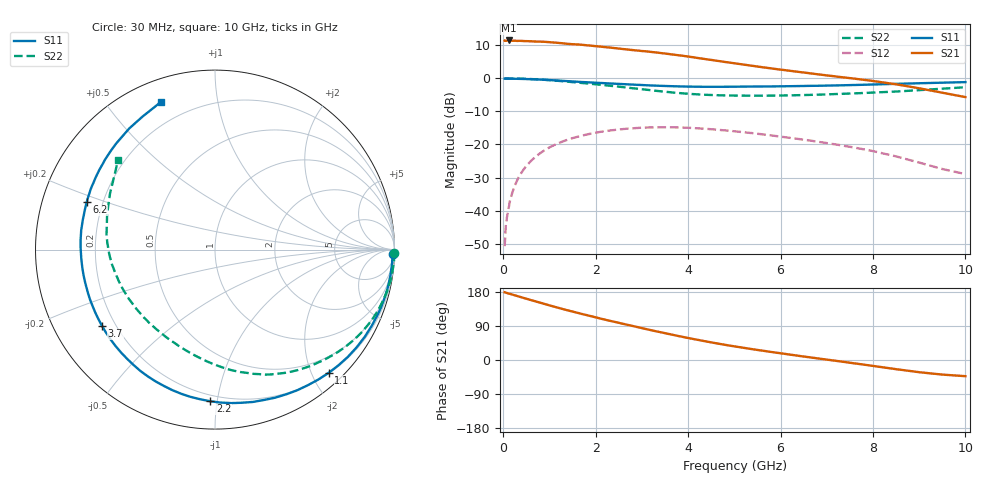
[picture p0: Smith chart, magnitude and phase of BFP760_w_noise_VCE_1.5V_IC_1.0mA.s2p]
! Infineon Technologies  Discrete & RF Semiconductors
! BFP760
! VCE =  1.5 V,  IC =  1.0 mA
! Common Emitter S-Parameters:  Nov 2012
# GHz  S  MA  R  50
!  f  S11  S21  S12  S22
! GHz  MAG  ANG  MAG  ANG  MAG  ANG  MAG  ANG
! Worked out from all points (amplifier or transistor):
!   99 points, 30 MHz to 10 GHz, reference 50 ohm
!   highest |S21| = 11.5 dB at 120 MHz (marker M1)
!   |S21| within 3 dB of that: start of sweep to 2.868 GHz
!   unconditionally stable (mu >= 1): 7.642 GHz to end of sweep
!   at 350 MHz: K = 0.04, MSG = 20.4 dB, |S12| = -29.5 dB
!   at 3.5 GHz: K = 0.28, MSG = 11.2 dB, |S12| = -14.8 dB
!   at 10 GHz: K = 2.23, MAG = 5.4 dB, |S12| = -28.9 dB
!   lowest NFmin = 0.56 dB at 900 MHz
!   S11 on the Smith chart (normalised r, x): 30 MHz: 28, -71; 1.1 GHz: 0.21, -2.27; 2.2 GHz: 0.16, -0.96; 3.7 GHz: 0.15, -0.30; 6.2 GHz: 0.14, +0.17; 10 GHz: 0.10, +0.70
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0.03  0.9904 -1.4  3.71 178.9  0.0029 83.7  1 -1.0
0.06  0.9896 -2.7  3.707 177.5  0.0065 84.7  0.9996 -1.8
0.12  0.989 -5.3  3.745 175.4  0.0112 86.9  0.9994 -3.5
0.14  0.9885 -6.1  3.729 174.7  0.0136 85.7  0.9985 -4.1
0.25  0.9862 -10.8  3.715 170.7  0.0238 82.2  0.9954 -7.3
0.45  0.9795 -19.4  3.663 163.4  0.0427 76.0  0.9874 -13.1
0.8  0.9588 -34.6  3.596 151.2  0.074 64.7  0.9607 -23.2
1.1  0.9341 -47.3  3.485 140.8  0.0978 55.3  0.928 -31.8
1.3  0.9157 -55.6  3.388 134.1  0.1121 49.3  0.9032 -37.3
1.7  0.881 -72.0  3.221 121.5  0.1358 38.2  0.8515 -47.7
2.2  0.8455 -91.8  2.972 106.5  0.159 24.9  0.7881 -60.7
2.8  0.8056 -114.2  2.68 89.8  0.1758 10.2  0.7093 -75.5
3.4  0.7719 -135.8  2.42 73.4  0.1822 -3.7  0.6386 -90.6
3.7  0.7599 -145.8  2.282 65.6  0.1818 -10.2  0.6087 -98.2
4.3  0.7466 -163.8  1.992 51.0  0.1739 -22.3  0.5678 -112.9
5.1  0.7496 177.5  1.655 34.1  0.1559 -35.9  0.5488 -130.2
6.2  0.7618 159.8  1.303 14.3  0.1262 -50.2  0.5538 -152.0
6.7  0.7715 152.8  1.178 6.0  0.113 -55.4  0.5642 -161.9
7.6  0.7941 139.2  0.99 -8.9  0.0899 -63.4  0.5941 -179.9
8.5  0.827 125.3  0.814 -24.2  0.0661 -68.9  0.6324 161.9
9  0.8439 118.6  0.708 -32.2  0.0533 -68.5  0.6636 151.8
10  0.8774 109.9  0.521 -42.7  0.0357 -53.8  0.7353 137.3
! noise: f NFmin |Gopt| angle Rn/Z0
0.9  0.56  0.74  29  0.39
1.8  0.75  0.67  58  0.32
2.4  0.89  0.62  78  0.27
3.5  1.15  0.59  110  0.18
5.5  1.87  0.54  -168  0.1
8  3.1  0.66  -111  0.7
